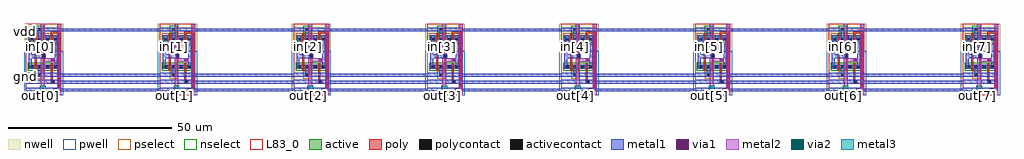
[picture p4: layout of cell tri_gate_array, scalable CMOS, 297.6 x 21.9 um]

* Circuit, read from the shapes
.subckt tri_gate_array en en_bar gnd in[0] in[1] in[2] in[3] in[4] in[5] in[6] in[7] out[0] out[1] out[2] out[3] out[4] out[5] out[6] out[7] vdd
M1 gnd in[0] n1 gnd nfet w=1.2u l=0.6u
M2 n2 n1 gnd gnd nfet w=1.2u l=0.6u
M3 out[0] en n2 gnd nfet w=1.2u l=0.6u
M4 gnd in[1] n3 gnd nfet w=1.2u l=0.6u
M5 n4 n3 gnd gnd nfet w=1.2u l=0.6u
M6 out[1] en n4 gnd nfet w=1.2u l=0.6u
M7 gnd in[2] n5 gnd nfet w=1.2u l=0.6u
M8 n6 n5 gnd gnd nfet w=1.2u l=0.6u
M9 out[2] en n6 gnd nfet w=1.2u l=0.6u
M10 gnd in[3] n7 gnd nfet w=1.2u l=0.6u
M11 n8 n7 gnd gnd nfet w=1.2u l=0.6u
M12 out[3] en n8 gnd nfet w=1.2u l=0.6u
M13 gnd in[4] n9 gnd nfet w=1.2u l=0.6u
M14 n10 n9 gnd gnd nfet w=1.2u l=0.6u
M15 out[4] en n10 gnd nfet w=1.2u l=0.6u
M16 gnd in[5] n11 gnd nfet w=1.2u l=0.6u
M17 n12 n11 gnd gnd nfet w=1.2u l=0.6u
M18 out[5] en n12 gnd nfet w=1.2u l=0.6u
M19 gnd in[6] n13 gnd nfet w=1.2u l=0.6u
M20 n14 n13 gnd gnd nfet w=1.2u l=0.6u
M21 out[6] en n14 gnd nfet w=1.2u l=0.6u
M22 gnd in[7] n15 gnd nfet w=1.2u l=0.6u
M23 n16 n15 gnd gnd nfet w=1.2u l=0.6u
M24 out[7] en n16 gnd nfet w=1.2u l=0.6u
M25 vdd in[0] n1 vdd pfet w=2.4u l=0.6u
M26 n17 n1 vdd vdd pfet w=2.4u l=0.6u
M27 out[0] en_bar n17 vdd pfet w=2.4u l=0.6u
M28 vdd in[1] n3 vdd pfet w=2.4u l=0.6u
M29 n18 n3 vdd vdd pfet w=2.4u l=0.6u
M30 out[1] en_bar n18 vdd pfet w=2.4u l=0.6u
M31 vdd in[2] n5 vdd pfet w=2.4u l=0.6u
M32 n19 n5 vdd vdd pfet w=2.4u l=0.6u
M33 out[2] en_bar n19 vdd pfet w=2.4u l=0.6u
M34 vdd in[3] n7 vdd pfet w=2.4u l=0.6u
M35 n20 n7 vdd vdd pfet w=2.4u l=0.6u
M36 out[3] en_bar n20 vdd pfet w=2.4u l=0.6u
M37 vdd in[4] n9 vdd pfet w=2.4u l=0.6u
M38 n21 n9 vdd vdd pfet w=2.4u l=0.6u
M39 out[4] en_bar n21 vdd pfet w=2.4u l=0.6u
M40 vdd in[5] n11 vdd pfet w=2.4u l=0.6u
M41 n22 n11 vdd vdd pfet w=2.4u l=0.6u
M42 out[5] en_bar n22 vdd pfet w=2.4u l=0.6u
M43 vdd in[6] n13 vdd pfet w=2.4u l=0.6u
M44 n23 n13 vdd vdd pfet w=2.4u l=0.6u
M45 out[6] en_bar n23 vdd pfet w=2.4u l=0.6u
M46 vdd in[7] n15 vdd pfet w=2.4u l=0.6u
M47 n24 n15 vdd vdd pfet w=2.4u l=0.6u
M48 out[7] en_bar n24 vdd pfet w=2.4u l=0.6u
.ends

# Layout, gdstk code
import gdstk
lib = gdstk.Library(unit=1e-6, precision=1e-09)
def R(c, l, rs):  # rectangles x0, y0, x1, y1
    for r in rs: c.add(gdstk.rectangle(r[:2], r[2:], *l))
def A(c, l, x, y, w, h, nx, ny, dx, dy):  # array of equal rectangles
    R(c, l, [(x+i*dx, y+j*dy, x+i*dx+w, y+j*dy+h) for i in range(nx) for j in range(ny)])
pwell = (41, 0)
nwell = (42, 0)
active = (43, 0)
pselect = (44, 0)
nselect = (45, 0)
poly = (46, 0)
polycontact = (47, 0)
activecontact = (48, 0)
metal1 = (49, 0)
via1 = (50, 0)
metal2 = (51, 0)
via2 = (61, 0)
metal3 = (62, 0)
L83_0 = (83, 0)

tri_gate = lib.new_cell('tri_gate')
R(tri_gate, pwell, [(-0.6,0,11.4,13.5)])
R(tri_gate, nwell, [(-0.6,13.5,11.4,21.9)])
R(tri_gate, active, [(3.6,5.7,4.8,6.9), (1.2,8.1,9.6,9.3), (1.2,15.9,9.6,18.3), (3.6,19.5,4.8,20.7)])
R(tri_gate, pselect, [(3,5.1,5.4,7.5), (0.6,15.3,10.2,18.9)])
R(tri_gate, nselect, [(0.6,7.5,10.2,9.9), (3,18.9,5.4,21.3)])
R(tri_gate, poly, [(8.4,1.2,9.6,1.8), (8.4,1.8,10.5,2.4), (9.9,2.4,10.5,18.9), (7.5,3.6,8.7,4.8), (7.5,4.8,8.1,9.9), (2.7,7.5,3.3,13.8), (5.1,7.5,5.7,11.4), (4.8,11.4,6,12.6), (5.1,12.6,5.7,18.9), (2.7,13.8,3.9,15), (2.7,15,3.3,18.9), (7.5,15.3,8.1,18.9), (7.5,18.9,10.5,19.5)])
R(tri_gate, polycontact, [(8.7,1.5,9.3,2.1), (7.8,3.9,8.4,4.5), (5.1,11.7,5.7,12.3), (3,14.1,3.6,14.7)])
A(tri_gate, activecontact, 1.5, 8.4, 0.6, 0.6, 4, 2, 2.4, 8.4)
R(tri_gate, activecontact, [(3.9,6,4.5,6.6), (3.9,19.8,4.5,20.4)])
R(tri_gate, metal1, [(0,1.2,10.8,2.4), (0,1.2,10.8,2.4), (0,3.6,10.8,4.8), (0,3.6,10.8,4.8), (0,5.7,10.8,6.9), (0,5.7,10.8,6.9), (3.6,6.9,4.8,9.3), (0.9,8.1,2.4,9.3), (6,8.1,7.2,9.3), (8.4,8.1,9.6,9.3), (0.9,9.3,1.8,11.4), (8.7,9.3,9.6,10.2), (7.5,10.2,9.6,11.4), (0.9,11.4,6,12.6), (8.7,11.4,9.6,15.9), (0.9,12.6,1.8,15.9), (2.7,13.8,5.7,15), (0.9,15.9,2.4,18.3), (3.6,15.9,4.8,19.5), (6,15.9,7.2,18.3), (8.4,15.9,9.6,18.3), (0,19.5,10.8,20.7), (0,19.5,10.8,20.7)])
R(tri_gate, via1, [(9.9,6,10.5,6.6), (7.8,10.5,8.4,11.1), (4.8,14.1,5.4,14.7)])
R(tri_gate, metal2, [(4.5,0,5.7,1.5), (4.5,0,5.7,1.5), (9.6,0,10.8,21.9), (9.6,0,10.8,21.9), (4.5,1.5,6,2.7), (4.5,2.7,5.7,10.2), (4.5,10.2,8.7,11.4), (3.9,13.8,5.7,15), (4.5,15,5.7,21.9), (4.5,15,5.7,21.9)])
R(tri_gate, via2, [(4.8,1.8,5.4,2.4)])
R(tri_gate, metal3, [(4.2,1.2,6,3)])
R(tri_gate, L83_0, [(0,0,10.2,21.9)])
tri_gate.add(gdstk.Label('gnd', (9.6,0), layer=51, texttype=0))
tri_gate.add(gdstk.Label('vdd', (0,19.5), layer=49, texttype=0))
tri_gate.add(gdstk.Label('en', (0,3.6), layer=49, texttype=0))
tri_gate.add(gdstk.Label('en_bar', (0,1.2), layer=49, texttype=0))
tri_gate.add(gdstk.Label('gnd', (0.3,6), layer=49, texttype=0))
tri_gate.add(gdstk.Label('out', (4.8,0.3), layer=51, texttype=0))
tri_gate.add(gdstk.Label('in', (5.1,21), layer=51, texttype=0))
tri_gate.add(gdstk.Label('en', (0,3.6), layer=49, texttype=0))
tri_gate.add(gdstk.Label('vdd', (0,19.5), layer=49, texttype=0))
tri_gate.add(gdstk.Label('gnd', (9.6,0), layer=51, texttype=0))
tri_gate.add(gdstk.Label('gnd', (0,5.7), layer=49, texttype=0))
tri_gate.add(gdstk.Label('in', (4.5,15), layer=51, texttype=0))
tri_gate.add(gdstk.Label('en_bar', (0,1.2), layer=49, texttype=0))
tri_gate.add(gdstk.Label('out', (4.5,0), layer=51, texttype=0))

tri_gate_array = lib.new_cell('tri_gate_array')
R(tri_gate_array, metal1, [(0,1.2,295.8,2.1), (0,1.2,295.8,2.1), (0,3.6,295.8,4.5), (0,3.6,295.8,4.5), (0,5.7,295.8,6.6), (0,5.7,295.8,6.6), (0,19.5,295.8,20.4), (0,19.5,295.8,20.4)])
R(tri_gate_array, metal2, [(4.5,0,5.7,1.5), (4.5,0,5.7,1.5), (45.3,0,46.5,1.5), (45.3,0,46.5,1.5), (86.1,0,87.3,1.5), (86.1,0,87.3,1.5), (126.9,0,128.1,1.5), (126.9,0,128.1,1.5), (167.7,0,168.9,1.5), (167.7,0,168.9,1.5), (208.5,0,209.7,1.5), (208.5,0,209.7,1.5), (249.3,0,250.5,1.5), (249.3,0,250.5,1.5), (290.1,0,291.3,1.5), (290.1,0,291.3,1.5), (4.5,15,5.7,21.9), (4.5,15,5.7,21.9), (45.3,15,46.5,21.9), (45.3,15,46.5,21.9), (86.1,15,87.3,21.9), (86.1,15,87.3,21.9), (126.9,15,128.1,21.9), (126.9,15,128.1,21.9), (167.7,15,168.9,21.9), (167.7,15,168.9,21.9), (208.5,15,209.7,21.9), (208.5,15,209.7,21.9), (249.3,15,250.5,21.9), (249.3,15,250.5,21.9), (290.1,15,291.3,21.9), (290.1,15,291.3,21.9)])
tri_gate_array.add(gdstk.Reference(tri_gate, (0,0)))
tri_gate_array.add(gdstk.Reference(tri_gate, (40.8,0)))
tri_gate_array.add(gdstk.Reference(tri_gate, (81.6,0)))
tri_gate_array.add(gdstk.Reference(tri_gate, (122.4,0)))
tri_gate_array.add(gdstk.Reference(tri_gate, (163.2,0)))
tri_gate_array.add(gdstk.Reference(tri_gate, (204,0)))
tri_gate_array.add(gdstk.Reference(tri_gate, (244.8,0)))
tri_gate_array.add(gdstk.Reference(tri_gate, (285.6,0)))
tri_gate_array.add(gdstk.Reference(tri_gate, (0,0)))
tri_gate_array.add(gdstk.Reference(tri_gate, (40.8,0)))
tri_gate_array.add(gdstk.Reference(tri_gate, (81.6,0)))
tri_gate_array.add(gdstk.Reference(tri_gate, (122.4,0)))
tri_gate_array.add(gdstk.Reference(tri_gate, (163.2,0)))
tri_gate_array.add(gdstk.Reference(tri_gate, (204,0)))
tri_gate_array.add(gdstk.Reference(tri_gate, (244.8,0)))
tri_gate_array.add(gdstk.Reference(tri_gate, (285.6,0)))
tri_gate_array.add(gdstk.Label('gnd', (0,5.7), layer=49, texttype=0))
tri_gate_array.add(gdstk.Label('out[3]', (126.9,0), layer=51, texttype=0))
tri_gate_array.add(gdstk.Label('in[2]', (86.1,15), layer=51, texttype=0))
tri_gate_array.add(gdstk.Label('out[4]', (167.7,0), layer=51, texttype=0))
tri_gate_array.add(gdstk.Label('in[3]', (126.9,15), layer=51, texttype=0))
tri_gate_array.add(gdstk.Label('out[2]', (86.1,0), layer=51, texttype=0))
tri_gate_array.add(gdstk.Label('in[0]', (4.5,15), layer=51, texttype=0))
tri_gate_array.add(gdstk.Label('out[6]', (249.3,0), layer=51, texttype=0))
tri_gate_array.add(gdstk.Label('out[0]', (4.5,0), layer=51, texttype=0))
tri_gate_array.add(gdstk.Label('out[1]', (45.3,0), layer=51, texttype=0))
tri_gate_array.add(gdstk.Label('in[4]', (167.7,15), layer=51, texttype=0))
tri_gate_array.add(gdstk.Label('out[5]', (208.5,0), layer=51, texttype=0))
tri_gate_array.add(gdstk.Label('in[5]', (208.5,15), layer=51, texttype=0))
tri_gate_array.add(gdstk.Label('en', (0,3.6), layer=49, texttype=0))
tri_gate_array.add(gdstk.Label('out[7]', (290.1,0), layer=51, texttype=0))
tri_gate_array.add(gdstk.Label('in[6]', (249.3,15), layer=51, texttype=0))
tri_gate_array.add(gdstk.Label('in[7]', (290.1,15), layer=51, texttype=0))
tri_gate_array.add(gdstk.Label('in[1]', (45.3,15), layer=51, texttype=0))
tri_gate_array.add(gdstk.Label('en_bar', (0,1.2), layer=49, texttype=0))
tri_gate_array.add(gdstk.Label('vdd', (0,19.5), layer=49, texttype=0))
tri_gate_array.add(gdstk.Label('gnd', (0,5.7), layer=49, texttype=0))
tri_gate_array.add(gdstk.Label('out[3]', (126.9,0), layer=51, texttype=0))
tri_gate_array.add(gdstk.Label('in[2]', (86.1,15), layer=51, texttype=0))
tri_gate_array.add(gdstk.Label('out[4]', (167.7,0), layer=51, texttype=0))
tri_gate_array.add(gdstk.Label('in[3]', (126.9,15), layer=51, texttype=0))
tri_gate_array.add(gdstk.Label('out[2]', (86.1,0), layer=51, texttype=0))
tri_gate_array.add(gdstk.Label('in[0]', (4.5,15), layer=51, texttype=0))
tri_gate_array.add(gdstk.Label('out[6]', (249.3,0), layer=51, texttype=0))
tri_gate_array.add(gdstk.Label('out[0]', (4.5,0), layer=51, texttype=0))
tri_gate_array.add(gdstk.Label('out[1]', (45.3,0), layer=51, texttype=0))
tri_gate_array.add(gdstk.Label('in[4]', (167.7,15), layer=51, texttype=0))
tri_gate_array.add(gdstk.Label('out[5]', (208.5,0), layer=51, texttype=0))
tri_gate_array.add(gdstk.Label('in[5]', (208.5,15), layer=51, texttype=0))
tri_gate_array.add(gdstk.Label('en', (0,3.6), layer=49, texttype=0))
tri_gate_array.add(gdstk.Label('out[7]', (290.1,0), layer=51, texttype=0))
tri_gate_array.add(gdstk.Label('in[6]', (249.3,15), layer=51, texttype=0))
tri_gate_array.add(gdstk.Label('in[7]', (290.1,15), layer=51, texttype=0))
tri_gate_array.add(gdstk.Label('in[1]', (45.3,15), layer=51, texttype=0))
tri_gate_array.add(gdstk.Label('en_bar', (0,1.2), layer=49, texttype=0))
tri_gate_array.add(gdstk.Label('vdd', (0,19.5), layer=49, texttype=0))

lib.write_gds('tri_gate_array.gds')
